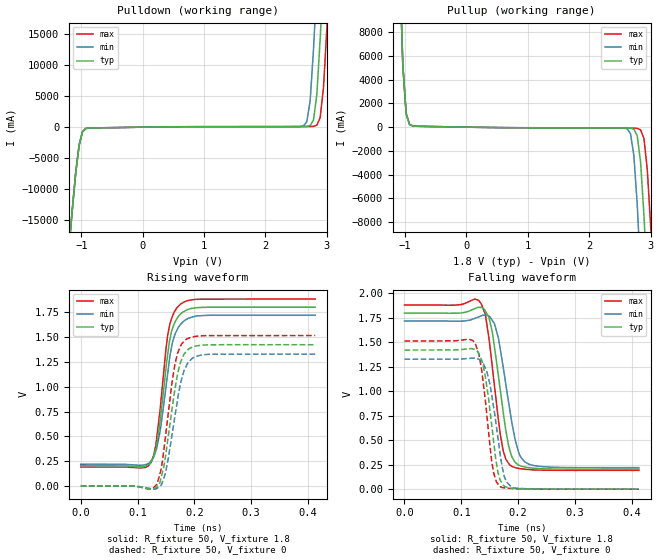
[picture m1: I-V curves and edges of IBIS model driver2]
| IBIS file invchain_stage4_tr50ps.ibs created by PYS2IBIS3
| Missouri S&T EMC Lab
[IBIS Ver] 7.1
[File Name] invchain_stage4_tr50ps.ibs
[File Rev] 1.0
[Date] Jul 27, 2026
[Source] inv_chain variant 'stage4' -- four stages, same final drive
[Notes] Parameter selection; sim_time=4.129e-10, tr=tf=5.000e-11.
[Component] invchain
[Manufacturer] s2ibispy study
[Package]
| variable   typ   min   max
R_pkg 0 NA NA
L_pkg 0H NA NA
C_pkg 0F NA NA
[Pin]  signal_name   model_name   R_pin   L_pin   C_pin
VSSQ   VSSQ   Gnd
VCCQ   VCCQ   Power
| IN IN dummy
PAD   PAD   driver2
| End of Component
| Models and submodels in the file (1): driver2 (Output)
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[Model] driver2
Model_type Output
Polarity Non-Inverting
Enable Active-High
Vinl  = 0.8V
Vinh  = 2V
C_comp 0.4680pF NA NA
[Temperature Range] 27.0000 27.0000 27.0000
[Voltage Range] 1.8000V 1.7000V 1.9000V
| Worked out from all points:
|   slope of the pulldown table from 0 to 0.27 V, typ, clamps not added: 6.79 ohm
|   slope of the pullup table from 0 to 0.27 V, typ, clamps not added: 12.6 ohm
|   rising waveform, R_fixture 50, V_fixture 1.8: 20-80 % time 20.5ps typ, 21.8ps min, 19.2ps max; typ from 0.204 V to 1.8 V
|   rising waveform, R_fixture 50, V_fixture 0: 20-80 % time 22ps typ, 23.3ps min, 20.2ps max; typ from 0 V to 1.42 V
|   falling waveform, R_fixture 50, V_fixture 1.8: 20-80 % time 23ps typ, 25.2ps min, 20.9ps max; typ from 1.8 V to 0.204 V
|   falling waveform, R_fixture 50, V_fixture 0: 20-80 % time 18.7ps typ, 19.9ps min, 17.1ps max; typ from 1.42 V to 0 V
[Pulldown]
| Voltage   I(typ)   I(min)   I(max)
-1.8V     -87.88A    -87.88A    -87.88A
-1.2V     -19.4A     -19.4A     -19.4A
-1.036V   -2.952A    -2.948A    -2.955A
-927.3mV  -221.8mA   -216.4mA   -227mA
2.618V    95.77mA    193.1mA    97.15mA
2.727V    244.8mA    4.224A     106.4mA
2.782V    1.151A     12.49A     132.5mA
2.836V    5.27A      23.04A     313.7mA
2.891V    14.25A     33.59A     1.533A
2.946V    24.81A     44.15A     6.464A
3V        35.36A     54.71A     16.02A
3.6V      151.5A     170.8A     132.1A
[Pullup]
| Voltage   I(typ)   I(min)   I(max)
-1.8V     151.4A     151.4A     151.4A
-1.091V   14.2A      14.19A     14.2A
-981.8mV  1.13A      1.129A     1.132A
-872.7mV  99.18mA    97.54mA    100.6mA
2.618V    -78.19mA   -142.5mA   -79.21mA
2.727V    -177.2mA   -2.408A    -86.52mA
2.782V    -728.3mA   -6.523A    -104.6mA
2.836V    -2.952A    -12.18A    -222.3mA
2.891V    -7.391A    -18.4A     -950.7mA
2.946V    -13.22A    -24.62A    -3.561A
3V        -19.44A    -30.85A    -8.297A
3.6V      -87.92A    -99.33A    -76.52A
[Ramp]
| variable   typ   min   max
dV/dt_r 0.8532/0.02197n 0.7968/0.02324n 0.9090/0.02026n
dV/dt_f 0.9575/0.02301n 0.8972/0.02488n 1.0171/0.02139n
R_load = 50
[Rising Waveform]
R_fixture = 50
V_fixture = 1.8
|time   V(typ)   V(min)   V(max)
0s        204.2mV    219.5mV    192.2mV
106.6ps   195.1mV    209.5mV    183.1mV
124ps     243.6mV    254.5mV    238.3mV
132.3ps   377mV      353.5mV    415.9mV
138.5ps   589mV      511mV      690.4mV
153.7ps   1.353V     1.158V     1.536V
161.2ps   1.578V     1.438V     1.706V
175.6ps   1.73V      1.628V     1.831V
214.1ps   1.798V     1.717V     1.881V
412.9ps   1.8V       1.719V     1.882V
[Rising Waveform]
R_fixture = 50
V_fixture = 0
|time   V(typ)   V(min)   V(max)
0s        13.08nV    12.76nV    13.48nV
123.6ps   -30.92mV   -27.5mV    -29.58mV
134.3ps   -4.663mV   -25.26mV   19.46mV
141.8ps   87.27mV    9.53mV     173.1mV
148.4ps   266.8mV    111.1mV    455.5mV
165.7ps   966.4mV    702.6mV    1.221V
174.8ps   1.23V      1.005V     1.395V
187.6ps   1.366V     1.229V     1.482V
220.3ps   1.42V      1.324V     1.514V
412.9ps   1.422V     1.328V     1.515V
[Falling Waveform]
R_fixture = 50
V_fixture = 1.8
|time   V(typ)   V(min)   V(max)
0s        1.8V       1.719V     1.882V
135.1ps   1.858V     1.772V     1.896V
142.6ps   1.819V     1.78V      1.78V
149.2ps   1.743V     1.767V     1.524V
158.7ps   1.449V     1.685V     1.039V
174ps     783.3mV    1.244V     389mV
185.6ps   399.1mV    808.1mV    246.3mV
201.3ps   244.7mV    371.7mV    211.8mV
218.6ps   219.9mV    256mV      200.3mV
412.9ps   204.2mV    219.5mV    192.2mV
[Falling Waveform]
R_fixture = 50
V_fixture = 0
|time   V(typ)   V(min)   V(max)
0s        1.422V     1.328V     1.515V
124.4ps   1.428V     1.339V     1.493V
135.6ps   1.323V     1.307V     1.235V
145.5ps   1.033V     1.193V     734.1mV
156.2ps   526.2mV    877.2mV    191.8mV
163.2ps   218.7mV    582mV      63.97mV
168.2ps   98.13mV    370.2mV    26.85mV
175.6ps   32.33mV    132mV      13.15mV
189.3ps   9.318mV    16.92mV    6.438mV
412.9ps   -379.4nV   -972.6nV   -78.03nV
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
